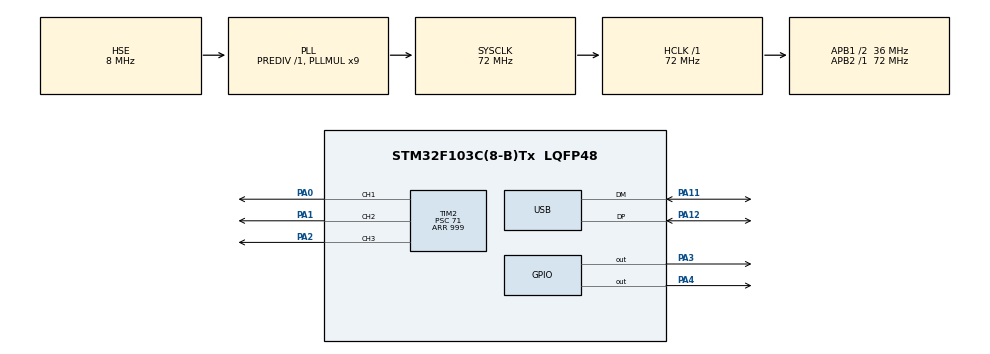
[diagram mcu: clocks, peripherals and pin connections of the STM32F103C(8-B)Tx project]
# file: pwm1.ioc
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Mcu.Family=STM32F1
Mcu.Name=STM32F103C(8-B)Tx
Mcu.Package=LQFP48
NVIC.PriorityGroup=NVIC_PRIORITYGROUP_4
NVIC.TIM4_IRQn=true\:0\:0\:false\:false\:true\:true\:true
NVIC.USB_LP_CAN1_RX0_IRQn=true\:0\:0\:false\:false\:true\:false\:true
PA0-WKUP.Signal=S_TIM2_CH1_ETR
PA1.Signal=S_TIM2_CH2
PA11.Mode=Device
PA11.Signal=USB_DM
PA12.Mode=Device
PA12.Signal=USB_DP
PA13.Mode=Trace_Asynchronous_SW
PA13.Signal=SYS_JTMS-SWDIO
PA14.Mode=Trace_Asynchronous_SW
PA14.Signal=SYS_JTCK-SWCLK
PA2.Signal=S_TIM2_CH3
PA3.Signal=GPIO_Output
PA4.Signal=GPIO_Output
PB3.Mode=Trace_Asynchronous_SW
PB3.Signal=SYS_JTDO-TRACESWO
PD0-OSC_IN.Mode=HSE-External-Oscillator
PD0-OSC_IN.Signal=RCC_OSC_IN
PD1-OSC_OUT.Mode=HSE-External-Oscillator
PD1-OSC_OUT.Signal=RCC_OSC_OUT
ProjectManager.HeapSize=0x200
ProjectManager.StackSize=0x400
ProjectManager.TargetToolchain=STM32CubeIDE
RCC.AHBFreq_Value=72000000
RCC.APB1CLKDivider=RCC_HCLK_DIV2
RCC.APB1Freq_Value=36000000
RCC.APB1TimFreq_Value=72000000
RCC.APB2Freq_Value=72000000
RCC.APB2TimFreq_Value=72000000
RCC.HCLKFreq_Value=72000000
RCC.PLLMUL=RCC_PLL_MUL9
RCC.PLLSourceVirtual=RCC_PLLSOURCE_HSE
RCC.SYSCLKFreq_VALUE=72000000
RCC.SYSCLKSource=RCC_SYSCLKSOURCE_PLLCLK
RCC.USBFreq_Value=48000000
RCC.USBPrescaler=RCC_USBCLKSOURCE_PLL_DIV1_5
SH.S_TIM2_CH1_ETR.0=TIM2_CH1,PWM Generation1 CH1
SH.S_TIM2_CH2.0=TIM2_CH2,PWM Generation2 CH2
SH.S_TIM2_CH3.0=TIM2_CH3,PWM Generation3 CH3
STMicroelectronics.X-CUBE-ALGOBUILD.1.0.0.LibraryCcDSPOoLibraryJjDSPOoLibrary=true
TIM2.AutoReloadPreload=TIM_AUTORELOAD_PRELOAD_ENABLE
TIM2.Channel-PWM\ Generation1\ CH1=TIM_CHANNEL_1
TIM2.Channel-PWM\ Generation2\ CH2=TIM_CHANNEL_2
TIM2.Channel-PWM\ Generation3\ CH3=TIM_CHANNEL_3
TIM2.Period=999
TIM2.Prescaler=71
TIM2.Pulse-PWM\ Generation1\ CH1=1000
TIM2.Pulse-PWM\ Generation2\ CH2=1000
TIM2.Pulse-PWM\ Generation3\ CH3=1000
TIM2.TIM_MasterOutputTrigger=TIM_TRGO_UPDATE
TIM4.AutoReloadPreload=TIM_AUTORELOAD_PRELOAD_ENABLE
TIM4.Period=999
TIM4.Prescaler=71
TIM4.TIM_MasterOutputTrigger=TIM_TRGO_UPDATE
USB_DEVICE.CLASS_NAME_FS=DFU
USB_DEVICE.MANUFACTURER_STRING=Awesome Audio Apparatus
USB_DEVICE.PRODUCT_STRING_DFU_FS=Demiurge Firmware Update
USB_DEVICE.VirtualMode=Dfu
USB_DEVICE.VirtualModeFS=Dfu_FS
VP_STMicroelectronics.X-CUBE-ALGOBUILD_VS_DSPOoLibraryJjLibrary_1.0.0.Mode=DSPOoLibraryJjLibrary
VP_TIM2_VS_ClockSourceINT.Mode=Internal
VP_TIM4_VS_ClockSourceINT.Mode=Internal
VP_USB_DEVICE_VS_USB_DEVICE_DFU_FS.Mode=DFU_FS
board=custom

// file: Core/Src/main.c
/* USER CODE BEGIN Header */
/**
 ******************************************************************************
 * @file           : main.c
 * @brief          : Main program body
 ******************************************************************************
 * @attention
 *
 * <h2><center>&copy; Copyright (c) 2020 STMicroelectronics.
 * All rights reserved.</center></h2>
 *
 * This software component is licensed by ST under BSD 3-Clause license,
 * the "License"; You may not use this file except in compliance with the
 * License. You may obtain a copy of the License at:
 *                        opensource.org/licenses/BSD-3-Clause
 *
 ******************************************************************************
 */
/* USER CODE END Header */
#include "main.h"
#include "usb_device.h"

/* USER CODE BEGIN Includes */
#include <math.h>
#include <arm_math.h>
/* USER CODE END Includes */

/* USER CODE BEGIN PD */
#define L_R 0
#define L_G 1
#define L_B 2
#define L_R_CCR TIM2->CCR1
#define L_G_CCR TIM2->CCR2
#define L_B_CCR TIM2->CCR3
#define M_PI2 2 * M_PI
/* USER CODE END PD */

TIM_HandleTypeDef htim2;
TIM_HandleTypeDef htim4;

/* USER CODE BEGIN PV */

void *led_ccr[3];

float velocity[3] = { 0, 0, 0 };
float angle[3] = { 0, 0, 0 };

/* USER CODE END PV */

void SystemClock_Config(void);
static void MX_GPIO_Init(void);
static void MX_TIM2_Init(void);
static void MX_TIM4_Init(void);

/* USER CODE BEGIN 0 */

void HAL_TIM_PeriodElapsedCallback(TIM_HandleTypeDef *htim) {
	HAL_GPIO_WritePin(GPIOA, GPIO_PIN_4, GPIO_PIN_SET);
	if (htim->Instance == TIM4) {

		// Calculate for all 3 leds
		for (uint8_t i = 0; i < 3; ++i) {

			*(uint16_t*) led_ccr[i] = (uint16_t) (500 + arm_cos_f32(angle[i]) * 500); // Will range from 0 - 1000

			angle[i] += velocity[i];
			if (angle[i] > M_PI2) // Just avoid dealing with large angles
				angle[i] -= M_PI2;

		}

	}
	HAL_GPIO_WritePin(GPIOA, GPIO_PIN_4, GPIO_PIN_RESET);
}

int _write(int file, char *ptr, int len) {
	/* Implement your write code here, this is used by puts and printf for example */
	for (int i = 0; i < len; i++)
		ITM_SendChar((*ptr++));
	return len;
}

void setFreq(uint8_t led, float freq) {
	velocity[led] = 2 * M_PI / (1000 / freq);
}

void setAngle(uint8_t led, float new_angle) {
	angle[led] = new_angle;
}

/* USER CODE END 0 */

int main(void) {

	/* MCU Configuration--------------------------------------------------------*/

	/* Reset of all peripherals, Initializes the Flash interface and the Systick. */
	HAL_Init();

	/* Configure the system clock */
	SystemClock_Config();

	/* Initialize all configured peripherals */
	MX_GPIO_Init();
	MX_TIM2_Init();
	MX_TIM4_Init();
	MX_USB_DEVICE_Init();
	/* USER CODE BEGIN 2 */

	// Store addresses for CCM registers
	led_ccr[0] = (void*) &TIM2->CCR1;
	led_ccr[1] = (void*) &TIM2->CCR2;
	led_ccr[2] = (void*) &TIM2->CCR3;

	// Start timer
	HAL_TIM_PWM_Start(&htim2, TIM_CHANNEL_1);
	HAL_TIM_PWM_Start(&htim2, TIM_CHANNEL_2);
	HAL_TIM_PWM_Start(&htim2, TIM_CHANNEL_3);
	HAL_TIM_Base_Start_IT(&htim4);

	// Provider power to led
	HAL_GPIO_WritePin(GPIOA, GPIO_PIN_3, GPIO_PIN_SET);
	/* USER CODE END 2 */

	/* Infinite loop */
	/* USER CODE BEGIN WHILE */

	uint8_t show = 0;
	uint32_t lastSec = 10;
	uint32_t last10Sec = 10;
	while (1) {
		uint32_t now = HAL_GetTick();

		if (now % 1000 == 0 && now != lastSec) {

			printf("tick - show = %d\n", show);

			lastSec = now;
		}

		if (now % 10000 == 0 && now != last10Sec) { // every 10 secs

			switch (show) {
			case 0:
				setFreq(L_R, 0.1);
				setAngle(L_R, 0);
				setAngle(L_G, 0);
				setAngle(L_B, 0);
				break;
			case 1:
				setFreq(L_R, 0.5);
				break;
			case 2:
				setFreq(L_R, 1);
				break;
			case 3:
				setFreq(L_R, 5);
				break;
			case 4:
				setFreq(L_R, 0.05);
				setFreq(L_B, 0.07);
				break;
			case 5:
				setFreq(L_R, 0.3);
			default:
				show = 0;
			}

			show++;
			last10Sec = now;
		}
		/* USER CODE END WHILE */

	}
}

void SystemClock_Config(void) {
	RCC_OscInitTypeDef RCC_OscInitStruct = { 0 };
	RCC_ClkInitTypeDef RCC_ClkInitStruct = { 0 };
	RCC_PeriphCLKInitTypeDef PeriphClkInit = { 0 };

	/** Initializes the RCC Oscillators according to the specified parameters
	 * in the RCC_OscInitTypeDef structure.
	 */
	RCC_OscInitStruct.OscillatorType = RCC_OSCILLATORTYPE_HSE;
	RCC_OscInitStruct.HSEState = RCC_HSE_ON;
	RCC_OscInitStruct.HSEPredivValue = RCC_HSE_PREDIV_DIV1;
	RCC_OscInitStruct.HSIState = RCC_HSI_ON;
	RCC_OscInitStruct.PLL.PLLState = RCC_PLL_ON;
	RCC_OscInitStruct.PLL.PLLSource = RCC_PLLSOURCE_HSE;
	RCC_OscInitStruct.PLL.PLLMUL = RCC_PLL_MUL9;
	if (HAL_RCC_OscConfig(&RCC_OscInitStruct) != HAL_OK) {
		Error_Handler();
	}
	/** Initializes the CPU, AHB and APB buses clocks
	 */
	RCC_ClkInitStruct.ClockType = RCC_CLOCKTYPE_HCLK | RCC_CLOCKTYPE_SYSCLK
			| RCC_CLOCKTYPE_PCLK1 | RCC_CLOCKTYPE_PCLK2;
	RCC_ClkInitStruct.SYSCLKSource = RCC_SYSCLKSOURCE_PLLCLK;
	RCC_ClkInitStruct.AHBCLKDivider = RCC_SYSCLK_DIV1;
	RCC_ClkInitStruct.APB1CLKDivider = RCC_HCLK_DIV2;
	RCC_ClkInitStruct.APB2CLKDivider = RCC_HCLK_DIV1;

	if (HAL_RCC_ClockConfig(&RCC_ClkInitStruct, FLASH_LATENCY_2) != HAL_OK) {
		Error_Handler();
	}
	PeriphClkInit.PeriphClockSelection = RCC_PERIPHCLK_USB;
	PeriphClkInit.UsbClockSelection = RCC_USBCLKSOURCE_PLL_DIV1_5;
	if (HAL_RCCEx_PeriphCLKConfig(&PeriphClkInit) != HAL_OK) {
		Error_Handler();
	}
}

static void MX_TIM2_Init(void) {

	TIM_ClockConfigTypeDef sClockSourceConfig = { 0 };
	TIM_MasterConfigTypeDef sMasterConfig = { 0 };
	TIM_OC_InitTypeDef sConfigOC = { 0 };

	htim2.Instance = TIM2;
	htim2.Init.Prescaler = 71;
	htim2.Init.CounterMode = TIM_COUNTERMODE_UP;
	htim2.Init.Period = 999;
	htim2.Init.ClockDivision = TIM_CLOCKDIVISION_DIV1;
	htim2.Init.AutoReloadPreload = TIM_AUTORELOAD_PRELOAD_ENABLE;
	if (HAL_TIM_Base_Init(&htim2) != HAL_OK) {
		Error_Handler();
	}
	sClockSourceConfig.ClockSource = TIM_CLOCKSOURCE_INTERNAL;
	if (HAL_TIM_ConfigClockSource(&htim2, &sClockSourceConfig) != HAL_OK) {
		Error_Handler();
	}
	if (HAL_TIM_PWM_Init(&htim2) != HAL_OK) {
		Error_Handler();
	}
	sMasterConfig.MasterOutputTrigger = TIM_TRGO_UPDATE;
	sMasterConfig.MasterSlaveMode = TIM_MASTERSLAVEMODE_DISABLE;
	if (HAL_TIMEx_MasterConfigSynchronization(&htim2, &sMasterConfig)
			!= HAL_OK) {
		Error_Handler();
	}
	sConfigOC.OCMode = TIM_OCMODE_PWM1;
	sConfigOC.Pulse = 1000;
	sConfigOC.OCPolarity = TIM_OCPOLARITY_HIGH;
	sConfigOC.OCFastMode = TIM_OCFAST_DISABLE;
	if (HAL_TIM_PWM_ConfigChannel(&htim2, &sConfigOC, TIM_CHANNEL_1)
			!= HAL_OK) {
		Error_Handler();
	}
	if (HAL_TIM_PWM_ConfigChannel(&htim2, &sConfigOC, TIM_CHANNEL_2)
			!= HAL_OK) {
		Error_Handler();
	}
	if (HAL_TIM_PWM_ConfigChannel(&htim2, &sConfigOC, TIM_CHANNEL_3)
			!= HAL_OK) {
		Error_Handler();
	}
	HAL_TIM_MspPostInit(&htim2);

}

static void MX_TIM4_Init(void) {

	TIM_ClockConfigTypeDef sClockSourceConfig = { 0 };
	TIM_MasterConfigTypeDef sMasterConfig = { 0 };

	htim4.Instance = TIM4;
	htim4.Init.Prescaler = 71;
	htim4.Init.CounterMode = TIM_COUNTERMODE_UP;
	htim4.Init.Period = 999;
	htim4.Init.ClockDivision = TIM_CLOCKDIVISION_DIV1;
	htim4.Init.AutoReloadPreload = TIM_AUTORELOAD_PRELOAD_ENABLE;
	if (HAL_TIM_Base_Init(&htim4) != HAL_OK) {
		Error_Handler();
	}
	sClockSourceConfig.ClockSource = TIM_CLOCKSOURCE_INTERNAL;
	if (HAL_TIM_ConfigClockSource(&htim4, &sClockSourceConfig) != HAL_OK) {
		Error_Handler();
	}
	sMasterConfig.MasterOutputTrigger = TIM_TRGO_UPDATE;
	sMasterConfig.MasterSlaveMode = TIM_MASTERSLAVEMODE_DISABLE;
	if (HAL_TIMEx_MasterConfigSynchronization(&htim4, &sMasterConfig)
			!= HAL_OK) {
		Error_Handler();
	}

}

static void MX_GPIO_Init(void) {
	GPIO_InitTypeDef GPIO_InitStruct = { 0 };

	/* GPIO Ports Clock Enable */
	__HAL_RCC_GPIOD_CLK_ENABLE();
	__HAL_RCC_GPIOA_CLK_ENABLE();
	__HAL_RCC_GPIOB_CLK_ENABLE();

	/*Configure GPIO pin Output Level */
	HAL_GPIO_WritePin(GPIOA, GPIO_PIN_3 | GPIO_PIN_4, GPIO_PIN_RESET);

	/*Configure GPIO pins : PA3 PA4 */
	GPIO_InitStruct.Pin = GPIO_PIN_3 | GPIO_PIN_4;
	GPIO_InitStruct.Mode = GPIO_MODE_OUTPUT_PP;
	GPIO_InitStruct.Pull = GPIO_NOPULL;
	GPIO_InitStruct.Speed = GPIO_SPEED_FREQ_LOW;
	HAL_GPIO_Init(GPIOA, &GPIO_InitStruct);

}

void Error_Handler(void) {
}

/************************ (C) COPYRIGHT STMicroelectronics *****END OF FILE****/
